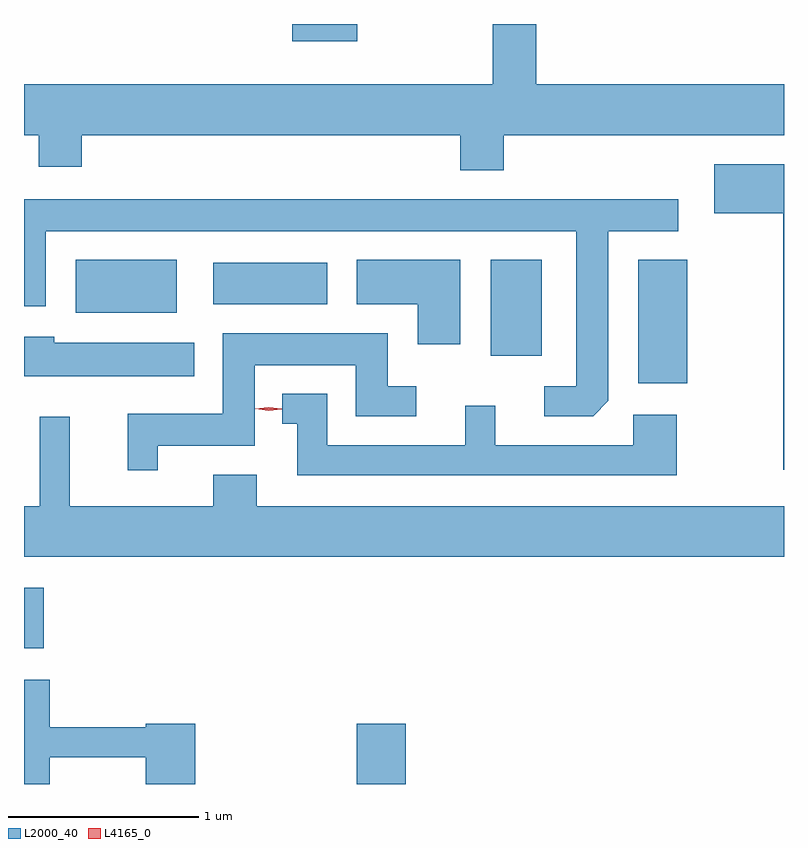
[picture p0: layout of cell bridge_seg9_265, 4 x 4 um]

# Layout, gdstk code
import gdstk
lib = gdstk.Library(unit=1e-6, precision=1e-09)
def R(c, l, rs):  # rectangles x0, y0, x1, y1
    for r in rs: c.add(gdstk.rectangle(r[:2], r[2:], *l))
def P(c, l, *ps):  # polygons
    for p in ps: c.add(gdstk.Polygon(p, *l))
L2000_40 = (2000, 40)
L4165_0 = (4165, 0)

bridge_seg9_265 = lib.new_cell('bridge_seg9_265')
R(bridge_seg9_265, L2000_40, [(1020.386,2046.121,1020.644,2046.439), (1018.634,2046.836,1018.739,2047.154), (1021.866,2048.231,1022.124,2048.879), (1021.091,2048.376,1021.359,2048.879), (1018.906,2048.601,1019.439,2048.879), (1019.631,2048.646,1020.229,2048.864), (1020.046,2050.031,1020.389,2050.121)])
P(bridge_seg9_265, L2000_40, [(1021.159,2049.536),(1022.634,2049.536),(1022.634,2049.804),(1021.329,2049.804),(1021.329,2050.121),(1021.101,2050.121),(1021.101,2049.804),(1018.634,2049.804),(1018.634,2049.536),(1018.711,2049.536),(1018.711,2049.371),(1018.939,2049.371),(1018.939,2049.536),(1020.931,2049.536),(1020.931,2049.351),(1021.159,2049.351)],
  [(1022.634,2049.384),(1022.266,2049.384),(1022.266,2049.126),(1022.631,2049.126),(1022.631,2047.776),(1022.634,2047.776)],
  [(1021.709,2048.137),(1021.709,2049.031),(1022.078,2049.031),(1022.078,2049.199),(1018.634,2049.199),(1018.634,2048.636),(1018.749,2048.636),(1018.749,2049.031),(1021.541,2049.031),(1021.541,2048.214),(1021.373,2048.214),(1021.373,2048.056),(1021.629,2048.056)],
  [(1020.929,2048.879),(1020.386,2048.879),(1020.386,2048.646),(1020.706,2048.646),(1020.706,2048.436),(1020.929,2048.436)],
  [(1019.339,2047.901),(1019.849,2047.901),(1019.849,2048.326),(1020.381,2048.326),(1020.381,2048.056),(1020.698,2048.056),(1020.698,2048.214),(1020.549,2048.214),(1020.549,2048.494),(1019.681,2048.494),(1019.681,2048.069),(1019.181,2048.069),(1019.181,2047.773),(1019.339,2047.773)],
  [(1019.529,2048.444),(1018.794,2048.444),(1018.794,2048.474),(1018.634,2048.474),(1018.634,2048.266),(1019.529,2048.266)],
  [(1022.069,2048.064),(1021.841,2048.064),(1021.841,2047.904),(1021.114,2047.904),(1021.114,2048.113),(1020.956,2048.113),(1020.956,2047.904),(1020.229,2047.904),(1020.229,2048.174),(1019.993,2048.174),(1019.993,2048.016),(1020.071,2048.016),(1020.071,2047.746),(1022.069,2047.746)],
  [(1022.634,2047.584),(1019.859,2047.584),(1019.859,2047.749),(1019.631,2047.749),(1019.631,2047.584),(1018.874,2047.584),(1018.874,2048.053),(1018.716,2048.053),(1018.716,2047.584),(1018.634,2047.584),(1018.634,2047.316),(1022.634,2047.316)],
  [(1018.769,2046.261),(1019.276,2046.261),(1019.276,2046.121),(1019.534,2046.121),(1019.534,2046.439),(1019.276,2046.439),(1019.276,2046.419),(1018.769,2046.419),(1018.769,2046.669),(1018.634,2046.669),(1018.634,2046.121),(1018.769,2046.121)])
P(bridge_seg9_265, L4165_0, [(1019.921,2048.085),(1019.852,2048.095),(1019.852,2048.095),(1019.852,2048.096),(1019.921,2048.105),(1019.991,2048.095),(1019.991,2048.095),(1019.991,2048.094)])

lib.write_gds('bridge_seg9_265.gds')
